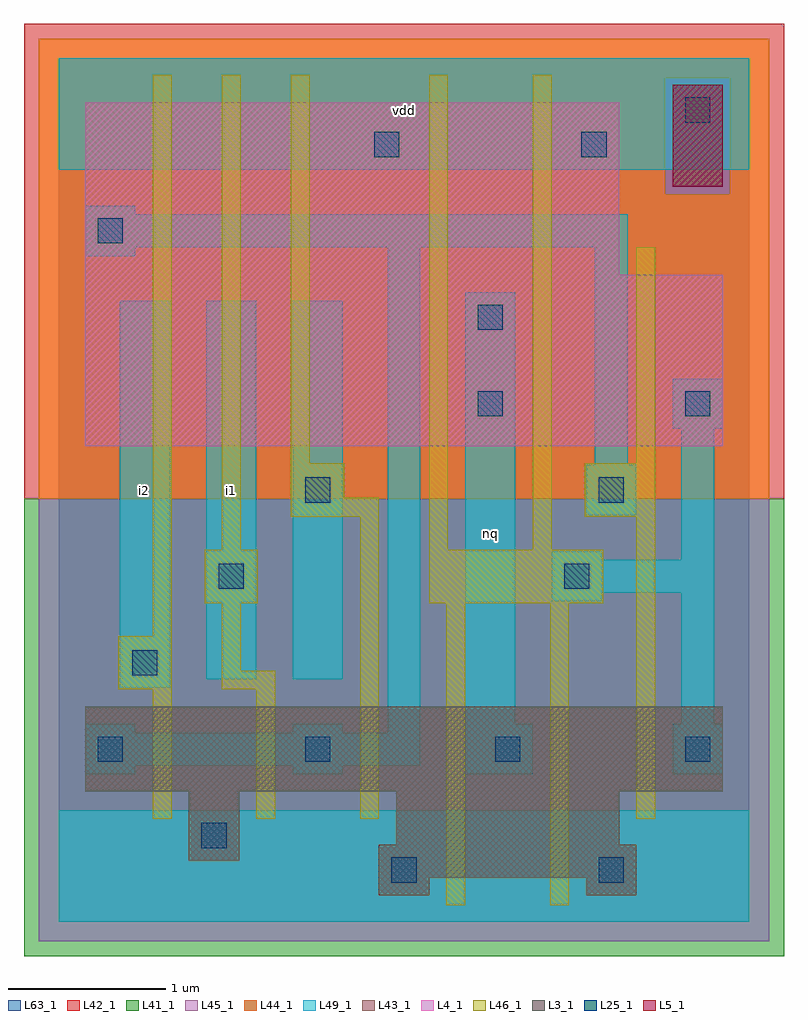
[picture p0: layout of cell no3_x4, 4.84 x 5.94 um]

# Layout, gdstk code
import gdstk
lib = gdstk.Library(unit=1e-6, precision=1e-09)
def R(c, l, rs):  # rectangles x0, y0, x1, y1
    for r in rs: c.add(gdstk.rectangle(r[:2], r[2:], *l))
def A(c, l, x, y, w, h, nx, ny, dx, dy):  # array of equal rectangles
    R(c, l, [(x+i*dx, y+j*dy, x+i*dx+w, y+j*dy+h) for i in range(nx) for j in range(ny)])
L3_1 = (3, 1)
L4_1 = (4, 1)
L5_1 = (5, 1)
L25_1 = (25, 1)
L41_1 = (41, 1)
L42_1 = (42, 1)
L43_1 = (43, 1)
L44_1 = (44, 1)
L45_1 = (45, 1)
L46_1 = (46, 1)
L49_1 = (49, 1)
L63_1 = (63, 1)

no3_x4 = lib.new_cell('no3_x4')
R(no3_x4, L3_1, [(2.04,0.17,2.36,0.28), (3.36,0.17,3.68,0.28), (2.04,0.28,3.68,0.49), (0.83,0.39,1.15,0.83), (2.15,0.49,3.57,0.83), (0.17,0.83,4.23,1.37)])
R(no3_x4, L4_1, [(0.17,3.03,4.23,4.12), (0.17,4.12,3.57,5.22)])
R(no3_x4, L5_1, [(3.91,4.68,4.23,5.33)])
A(no3_x4, L25_1, 1.57, 1.02, 0.16, 0.16, 3, 1, 1.21, 0)
R(no3_x4, L25_1, [(2.12,0.25,2.28,0.41), (3.44,0.25,3.6,0.41), (0.91,0.47,1.07,0.63), (0.25,1.02,0.41,1.18), (0.47,1.57,0.63,1.73), (1.02,2.12,1.18,2.28), (3.22,2.12,3.38,2.28), (1.57,2.67,1.73,2.83), (3.44,2.67,3.6,2.83), (2.67,3.22,2.83,3.38), (3.99,3.22,4.15,3.38), (2.67,3.77,2.83,3.93), (0.25,4.32,0.41,4.48), (2.01,4.87,2.17,5.03), (3.33,4.87,3.49,5.03), (3.99,5.09,4.15,5.25)])
R(no3_x4, L41_1, [(-0.22,-0.22,4.62,2.695)])
R(no3_x4, L42_1, [(-0.22,2.695,4.62,5.72)])
R(no3_x4, L43_1, [(2.04,0.17,2.36,0.28), (3.36,0.17,3.68,0.28), (2.04,0.28,3.68,0.49), (0.83,0.39,1.15,0.83), (2.15,0.49,3.57,0.83), (0.17,0.83,4.23,1.37), (0.17,3.03,4.23,4.12), (0.17,4.12,3.57,5.22), (3.91,4.68,4.23,5.33)])
R(no3_x4, L44_1, [(-0.125,2.695,4.525,4.635), (-0.125,4.635,3.865,5.375), (4.275,4.635,4.525,5.375), (-0.125,5.375,4.525,5.625)])
R(no3_x4, L45_1, [(-0.125,-0.125,4.525,2.695), (3.865,4.635,4.275,5.375)])
R(no3_x4, L46_1, [(2.47,0.105,2.59,2.03), (3.13,0.105,3.25,2.03), (0.6,0.655,0.72,1.48), (1.26,0.655,1.38,1.48), (1.92,0.655,2.04,2.58), (3.68,0.655,3.8,2.58), (0.38,1.48,0.72,1.82), (1.04,1.48,1.38,1.6), (1.04,1.6,1.16,2.03), (0.6,1.82,0.72,5.395), (0.93,2.03,1.27,2.37), (2.36,2.03,3.47,2.37), (1.04,2.37,1.16,5.395), (2.36,2.37,2.48,5.395), (3.02,2.37,3.14,5.395), (1.48,2.58,2.04,2.7), (3.35,2.58,3.8,2.92), (1.48,2.7,1.82,2.92), (1.48,2.92,1.6,5.395), (3.68,2.92,3.8,4.295)])
R(no3_x4, L49_1, [(0,0,4.4,0.71), (0.17,0.94,0.49,0.995), (1.49,0.94,1.81,0.995), (2.59,0.94,3.02,1.26), (3.91,0.94,4.23,1.26), (0.17,0.995,2.305,1.205), (0.17,1.205,0.49,1.26), (1.49,1.205,1.81,1.26), (2.095,1.205,2.305,4.295), (2.59,1.26,2.91,4.01), (3.965,1.26,4.175,2.095), (0.39,1.49,0.71,3.955), (0.94,1.545,1.26,3.955), (1.49,1.545,1.81,3.955), (3.14,2.04,3.46,2.095), (3.14,2.095,4.175,2.305), (3.14,2.305,3.46,2.36), (3.965,2.305,4.175,3.14), (3.36,2.59,3.68,2.91), (3.415,2.91,3.625,4.295), (3.91,3.14,4.23,3.46), (0.17,4.24,0.49,4.295), (0.17,4.295,3.625,4.505), (0.17,4.505,0.49,4.56), (0,4.79,4.4,5.5)])
R(no3_x4, L63_1, [(0,0,4.4,5.5)])
no3_x4.add(gdstk.Label('i2', (0.55,2.75), layer=49, texttype=1))
no3_x4.add(gdstk.Label('i2', (0.55,2.75), layer=49, texttype=1))
no3_x4.add(gdstk.Label('i1', (1.1,2.75), layer=49, texttype=1))
no3_x4.add(gdstk.Label('i1', (1.1,2.75), layer=49, texttype=1))
no3_x4.add(gdstk.Label('nq', (2.75,2.475), layer=49, texttype=1))
no3_x4.add(gdstk.Label('nq', (2.75,2.475), layer=49, texttype=1))
no3_x4.add(gdstk.Label('vdd', (2.2,5.17), layer=49, texttype=1))
no3_x4.add(gdstk.Label('vdd', (2.2,5.17), layer=49, texttype=1))

lib.write_gds('no3_x4.gds')
